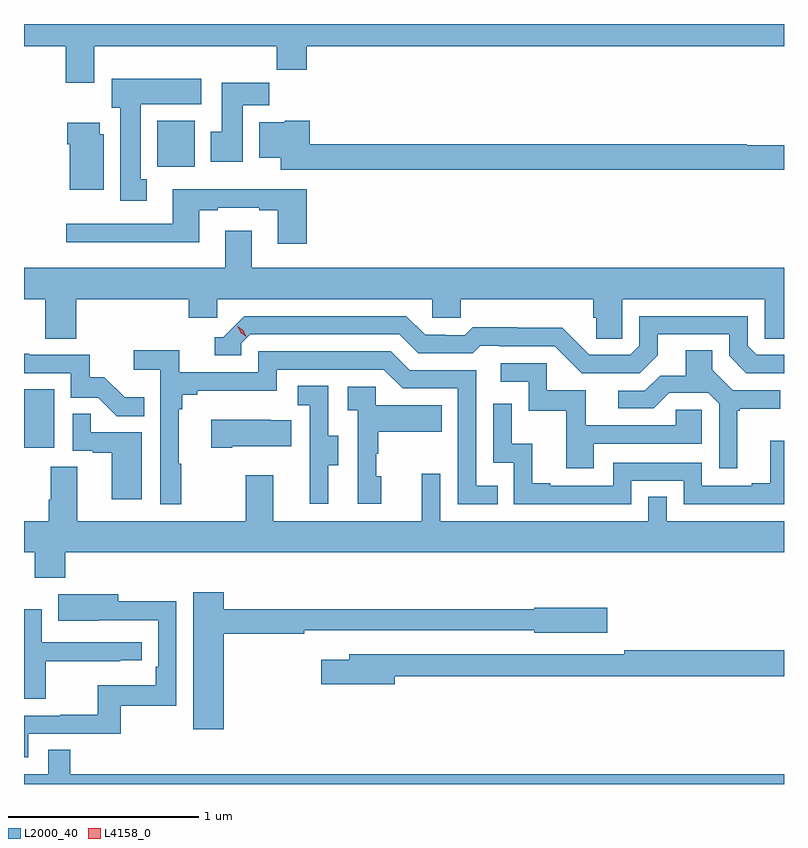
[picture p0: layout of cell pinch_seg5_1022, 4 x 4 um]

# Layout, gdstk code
import gdstk
lib = gdstk.Library(unit=1e-6, precision=1e-09)
def R(c, l, rs):  # rectangles x0, y0, x1, y1
    for r in rs: c.add(gdstk.rectangle(r[:2], r[2:], *l))
def P(c, l, *ps):  # polygons
    for p in ps: c.add(gdstk.Polygon(p, *l))
L2000_40 = (2000, 40)
L4158_0 = (4158, 0)

pinch_seg5_1022 = lib.new_cell('pinch_seg5_1022')
R(pinch_seg5_1022, L2000_40, [(880.166,859.974,880.324,860.281), (880.868,861.452,881.065,861.694)])
P(pinch_seg5_1022, L2000_40, [(880.537,862.088),(881.497,862.088),(881.497,861.964),(881.654,861.964),(881.654,862.088),(884.166,862.088),(884.166,862.204),(880.166,862.204),(880.166,862.088),(880.385,862.088),(880.385,861.894),(880.537,861.894)],
  [(880.813,861.386),(880.78,861.386),(880.78,861.782),(881.098,861.782),(881.098,861.916),(880.628,861.916),(880.628,861.762),(880.673,861.762),(880.673,861.273),(880.813,861.273)],
  [(881.317,861.776),(881.456,861.776),(881.456,861.895),(881.207,861.895),(881.207,861.636),(881.15,861.636),(881.15,861.48),(881.317,861.48)],
  [(884.166,861.565),(883.97,861.565),(883.97,861.572),(881.669,861.572),(881.669,861.694),(881.538,861.694),(881.538,861.688),(881.405,861.688),(881.405,861.5),(881.516,861.5),(881.516,861.436),(884.166,861.436)],
  [(880.585,861.624),(880.564,861.624),(880.564,861.685),(880.394,861.685),(880.394,861.572),(880.406,861.572),(880.406,861.332),(880.585,861.332)],
  [(881.654,861.334),(880.949,861.334),(880.949,861.153),(880.389,861.153),(880.389,861.056),(881.089,861.056),(881.089,861.225),(881.185,861.225),(881.185,861.237),(881.405,861.237),(881.405,861.225),(881.501,861.225),(881.501,861.048),(881.654,861.048)],
  [(880.442,860.756),(881.033,860.756),(881.033,860.658),(881.184,860.658),(881.184,860.756),(882.315,860.756),(882.315,860.658),(882.465,860.658),(882.465,860.756),(883.163,860.756),(883.163,860.658),(883.177,860.658),(883.177,860.548),(883.314,860.548),(883.314,860.756),(884.064,860.756),(884.064,860.548),(884.166,860.548),(884.166,860.92),(881.365,860.92),(881.365,861.115),(881.225,861.115),(881.225,860.92),(880.166,860.92),(880.166,860.756),(880.277,860.756),(880.277,860.548),(880.442,860.548)],
  [(883.501,860.461),(883.501,860.571),(883.878,860.571),(883.878,860.457),(883.968,860.367),(884.166,860.367),(884.166,860.463),(884.022,860.463),(883.974,860.511),(883.974,860.667),(883.404,860.667),(883.404,860.511),(883.356,860.463),(883.14,860.463),(882.998,860.605),(882.762,860.605),(882.762,860.608),(882.529,860.608),(882.487,860.565),(882.384,860.565),(882.384,860.568),(882.277,860.568),(882.178,860.667),(881.325,860.667),(881.214,860.556),(881.171,860.556),(881.171,860.46),(881.31,860.46),(881.31,860.523),(881.358,860.571),(882.141,860.571),(882.24,860.472),(882.529,860.472),(882.568,860.511),(882.667,860.511),(882.667,860.508),(882.96,860.508),(883.101,860.367),(883.407,860.367)],
  [(883.921,860.169),(883.933,860.169),(883.933,860.18),(884.146,860.18),(884.146,860.277),(883.896,860.277),(883.789,860.384),(883.789,860.486),(883.649,860.486),(883.649,860.354),(883.514,860.354),(883.434,860.274),(883.293,860.274),(883.293,860.181),(883.48,860.181),(883.561,860.262),(883.767,860.262),(883.824,860.205),(883.824,859.866),(883.921,859.866)],
  [(880.993,859.889),(880.981,859.889),(880.981,860.177),(881,860.177),(881,860.254),(881.077,860.254),(881.077,860.273),(881.496,860.273),(881.496,860.385),(882.06,860.385),(882.159,860.286),(882.45,860.286),(882.45,859.677),(882.659,859.677),(882.659,859.773),(882.546,859.773),(882.546,860.382),(882.196,860.382),(882.097,860.481),(881.4,860.481),(881.4,860.37),(880.982,860.37),(880.982,860.486),(880.743,860.486),(880.743,860.384),(880.884,860.384),(880.884,859.677),(880.993,859.677)],
  [(880.799,860.239),(880.695,860.239),(880.588,860.346),(880.512,860.346),(880.512,860.463),(880.193,860.463),(880.193,860.468),(880.166,860.468),(880.166,860.367),(880.413,860.367),(880.413,860.238),(880.557,860.238),(880.655,860.14),(880.799,860.14)],
  [(883.165,859.995),(883.734,859.995),(883.734,860.175),(883.597,860.175),(883.597,860.091),(883.123,860.091),(883.123,860.277),(882.918,860.277),(882.918,860.418),(882.675,860.418),(882.675,860.322),(882.822,860.322),(882.822,860.169),(883.021,860.169),(883.021,859.866),(883.165,859.866)],
  [(881.767,859.882),(881.821,859.882),(881.821,860.037),(881.766,860.037),(881.766,860.3),(881.607,860.3),(881.607,860.197),(881.67,860.197),(881.67,859.893),(881.669,859.893),(881.669,859.68),(881.767,859.68)],
  [(882.046,859.824),(882.021,859.824),(882.021,859.943),(882.031,859.943),(882.031,860.057),(882.365,860.057),(882.365,860.197),(882.018,860.197),(882.018,860.295),(881.871,860.295),(881.871,860.171),(881.922,860.171),(881.922,859.68),(882.046,859.68)],
  [(883.362,859.8),(883.638,859.8),(883.638,859.677),(884.166,859.677),(884.166,860.011),(884.093,860.011),(884.093,859.786),(883.997,859.786),(883.997,859.773),(883.734,859.773),(883.734,859.896),(883.266,859.896),(883.266,859.773),(882.937,859.773),(882.937,859.786),(882.842,859.786),(882.842,859.994),(882.732,859.994),(882.732,860.206),(882.636,860.206),(882.636,859.896),(882.744,859.896),(882.744,859.677),(883.362,859.677)],
  [(880.786,860.055),(880.517,860.055),(880.517,860.153),(880.422,860.153),(880.422,859.959),(880.529,859.959),(880.529,859.947),(880.628,859.947),(880.628,859.704),(880.786,859.704)],
  [(881.263,859.982),(881.573,859.982),(881.573,860.119),(881.465,860.119),(881.465,860.122),(881.151,860.122),(881.151,859.975),(881.263,859.975)],
  [(884.166,859.588),(883.548,859.588),(883.548,859.715),(883.452,859.715),(883.452,859.588),(882.357,859.588),(882.357,859.837),(882.26,859.837),(882.26,859.588),(881.479,859.588),(881.479,859.828),(881.332,859.828),(881.332,859.588),(880.447,859.588),(880.447,859.874),(880.307,859.874),(880.307,859.7),(880.295,859.7),(880.295,859.588),(880.166,859.588),(880.166,859.424),(880.222,859.424),(880.222,859.289),(880.382,859.289),(880.382,859.424),(884.166,859.424)],
  [(881.218,858.994),(881.642,858.994),(881.642,859.014),(882.852,859.014),(882.852,859.001),(883.237,859.001),(883.237,859.131),(882.852,859.131),(882.852,859.123),(881.218,859.123),(881.218,859.213),(881.057,859.213),(881.057,858.492),(881.218,858.492)],
  [(880.188,858.468),(880.675,858.468),(880.675,858.615),(880.968,858.615),(880.968,859.166),(880.663,859.166),(880.663,859.204),(880.345,859.204),(880.345,859.064),(880.559,859.064),(880.559,859.065),(880.872,859.065),(880.872,858.82),(880.859,858.82),(880.859,858.724),(880.554,858.724),(880.554,858.569),(880.357,858.569),(880.357,858.564),(880.166,858.564),(880.166,858.345),(880.188,858.345)],
  [(880.28,858.85),(880.673,858.85),(880.673,858.855),(880.786,858.855),(880.786,858.951),(880.26,858.951),(880.26,859.123),(880.166,859.123),(880.166,858.654),(880.28,858.654)],
  [(882.118,858.772),(884.166,858.772),(884.166,858.908),(883.324,858.908),(883.324,858.888),(881.879,858.888),(881.879,858.859),(881.73,858.859),(881.73,858.73),(882.118,858.73)],
  [(884.166,858.256),(880.409,858.256),(880.409,858.383),(880.293,858.383),(880.293,858.256),(880.166,858.256),(880.166,858.204),(884.166,858.204)])
P(pinch_seg5_1022, L4158_0, [(881.336,860.559),(881.306,860.579),(881.29,860.612),(881.29,860.612),(881.29,860.612),(881.321,860.592),(881.337,860.56),(881.337,860.559)])

lib.write_gds('pinch_seg5_1022.gds')
